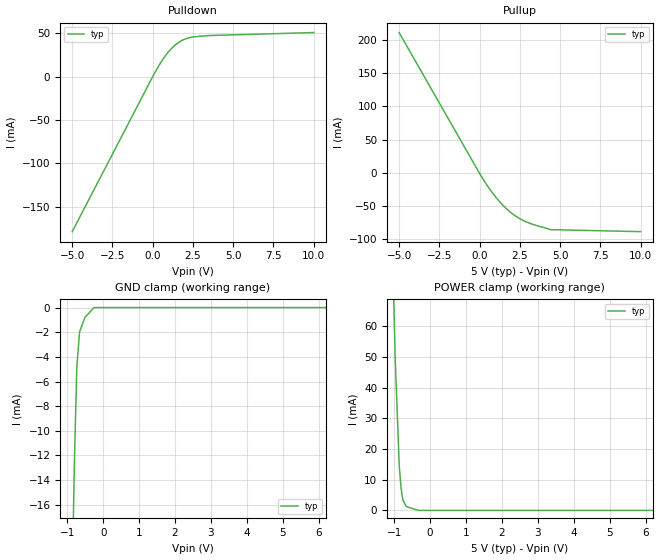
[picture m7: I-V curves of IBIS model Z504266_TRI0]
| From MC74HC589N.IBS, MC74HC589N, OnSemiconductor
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| (C) COPYRIGHT 1993-2000
| MENTOR GRAPHICS CORPORATION
| ICX STANDARD LIBRARY, ICX PROJECT MODELING,
| ICX CUSTOM MODELING, ICX VENDOR MODEL
| ALL RIGHTS RESERVED.
| THE FOLLOWING ARE TRADEMARKS OR SERVICE MARKS OF
| MENTOR GRAPHICS CORPORATION:ICX (R), ICX STANDARD
| LIBRARY(R), ICX PROJECT MODELING(R), ICX CUSTOM
| MODELING(R), qualityIBIS(TM), MODELVIEWER(TM),
| AND MODELEDITOR(TM)
| ALL COPIES OF SOFTWARE, INCLUDING BUT NOT LIMITED TO
| ANY MODIFICATIONS, ENHANCEMENTS OR DERIVATIVE WORKS,
| MUST CONTAIN ALL MENTOR GRAPHICS CORPORATION'S
| NOTICES AND LEGENDS, INCLUDING THOSE EMBEDDED IN
| SOFTWARE AND THOSE AFFIXED TO SOFTWARE MEDIUM
| AND CONTAINER, AS RECEIVED FROM MENTOR GRAPHICS
| CORPORATION.
| Model Application Version 1.89 2/18/99.
[Model] Z504266_TRI0
Model_type 3-state
Vref=0.000V
Rref=500.0Mohms
Cref=50.00pF
Vmeas=2.500V
C_comp 8.000pF NA NA
| variable typ   min   max
[Voltage Range] 5.000V NA NA
[POWER Clamp Reference] 5.000V NA NA
[Pullup Reference] 5.000V NA NA
[Pulldown Reference] 0.000V NA NA
[GND Clamp Reference] 0.000V NA NA
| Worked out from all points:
|   slope of the pulldown table from 0 to 0.75 V, typ, clamps not added: 32.6 ohm
|   slope of the pullup table from 0 to 0.75 V, typ, clamps not added: 27 ohm
|   GND clamp passes 1 mA (typ) near -0.54 V on its own axis
[GND Clamp]
-5V       -541.7mA   NA         NA
-1.133V   -64.72mA   NA         NA
-803.7mV  -12.66mA   NA         NA
-737.3mV  -4.913mA   NA         NA
-659.3mV  -1.978mA   NA         NA
-511.5mV  -805.4uA   NA         NA
-255.8mV  0A         NA         NA
10V       0A         NA         NA
[Pulldown]
-5V       -178.5mA   NA         NA
102.5mV   3.74mA     NA         NA
723.2mV   22.45mA    NA         NA
1.325V    35.3mA     NA         NA
1.782V    41.35mA    NA         NA
2.075V    43.76mA    NA         NA
2.949V    46.62mA    NA         NA
10V       50.79mA    NA         NA
[Pullup]
-5V       211.4mA    NA         NA
19mV      -1.904mA   NA         NA
441mV     -18.16mA   NA         NA
1.02V     -37.29mA   NA         NA
1.602V    -52.78mA   NA         NA
1.874V    -58.68mA   NA         NA
2.481V    -69mA      NA         NA
2.915V    -74.26mA   NA         NA
4.384V    -85.77mA   NA         NA
10V       -88.77mA   NA         NA
[POWER Clamp]
-5V       2.253A     NA         NA
-1.152V   136.8mA    NA         NA
-976mV    50.82mA    NA         NA
-860mV    14.53mA    NA         NA
-810mV    7.348mA    NA         NA
-757mV    3.371mA    NA         NA
-664mV    1.244mA    NA         NA
-332mV    0A         NA         NA
10V       0A         NA         NA
[Ramp]
| variable typ min max
dV/dt_r 2.871/1.321n NA NA
dV/dt_f 2.871/1.415n NA NA
R_load = 500.0Ohms
